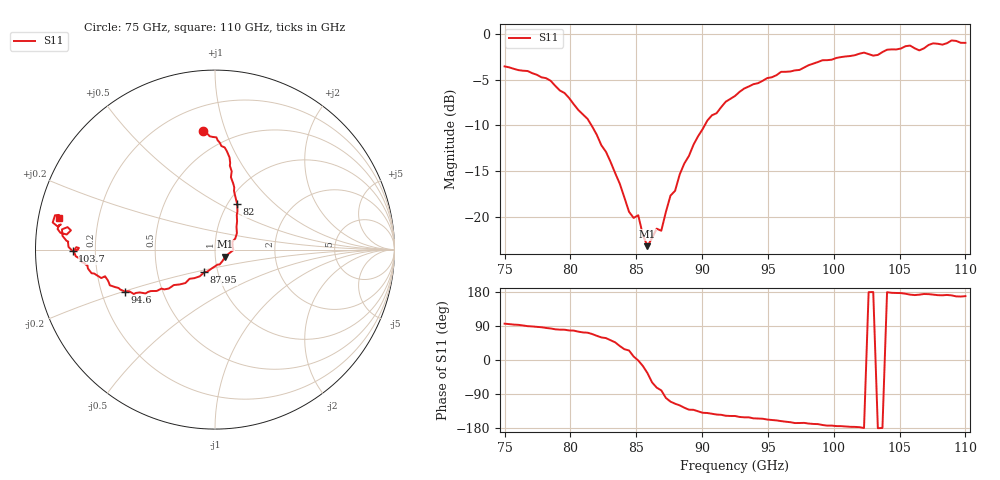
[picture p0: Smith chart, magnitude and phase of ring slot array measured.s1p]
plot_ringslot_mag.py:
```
import pylab
import mwavepy as mv 

# create a Network type from a touchstone file of a horn antenna
ring_slot= mv.Network('ring slot array measured.s1p')

# plot magnitude (in db) of S11
pylab.figure(1)
pylab.title('WR-10 Ringslot Array, Mag')
ring_slot.plot_s_db(m=0,n=0) # m,n are S-Matrix indecies
pylab.figure(2)
ring_slot.plot_s_db(m=0,n=0) # m,n are S-Matrix indecies
# show the plots 
pylab.show()
```
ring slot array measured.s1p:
!Created with mwavepy.
# GHz S RI R 50.0
!freq	ReS11	ImS11
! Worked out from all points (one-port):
!   101 points, 75 GHz to 110 GHz, reference 50 ohm
!   lowest |S11| = -23.1 dB at 85.85 GHz (marker M1), VSWR 1.15, Z = 55.9 - j4.45 ohm
!   |S11| at or under -10 dB: 81.61 GHz to 90.19 GHz (8.587 GHz wide, 10 % of centre)
!   S11 on the Smith chart (normalised r, x): 75 GHz: 0.36, +0.84; 82 GHz: 1.11, +0.61; 87.95 GHz: 0.86, -0.22; 94.6 GHz: 0.30, -0.20; 103.7 GHz: 0.12, -0.01; 110 GHz: 0.06, +0.10
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75  -0.0677 0.6592
! Port Impedance 50.00000000000000 0.00000000000000
78.5  0.0655 0.5495
82  0.124 0.2527
84.45  0.0973 0.0455
85.15  0.1028 -0.00213
85.85  0.0575 -0.0396
86.9  0.0144 -0.0835
87.95  -0.0599 -0.1262
90.4  -0.2572 -0.2167
94.6  -0.5016 -0.2336
98.45  -0.6729 -0.1335
103.7  -0.7929 -0.00869
106.15  -0.8215 0.1253
110  -0.8718 0.1774
